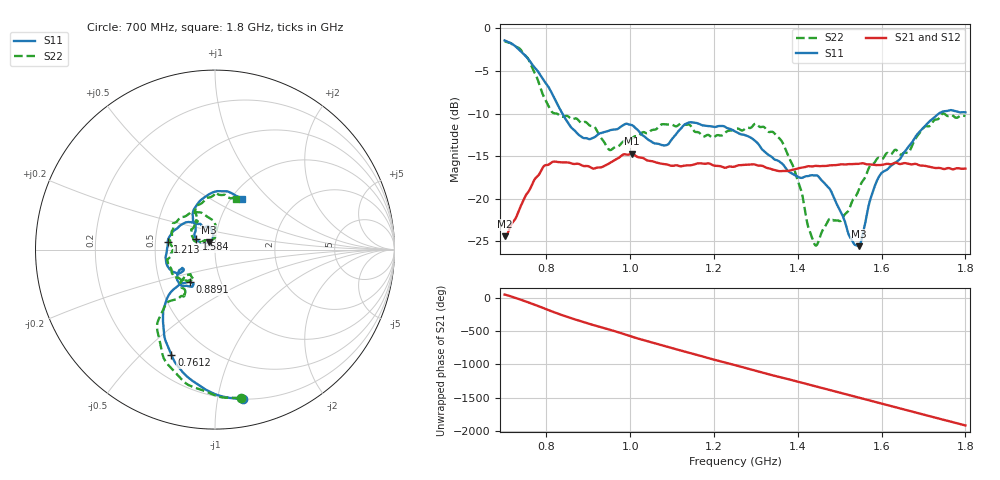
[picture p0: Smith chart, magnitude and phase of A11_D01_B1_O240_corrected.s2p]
! Created with skrf 1.9.0 (http://scikit-rf.org).
# Hz S RI R 50.0
!freq ReS11 ImS11 ReS21 ImS21 ReS12 ImS12 ReS22 ImS22
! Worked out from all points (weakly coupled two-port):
!   1601 points, 700 MHz to 1.8 GHz, reference 50 ohm
!   highest |S21| = -14.72 dB at 1.003 GHz (marker M1); lowest = -24.4 dB at 700 MHz (marker M2)
!   lowest |S11| = -25.6 dB at 1.545 GHz (marker M3), VSWR 1.11, Z = 46.7 + j3.9 ohm
!   |S11| at or under -10 dB: 837.8 MHz to 1.736 GHz (898.6 MHz wide, 69.8 % of centre)
!   |S22| runs from -25.5 to -1.5 dB; largest |S21 - S12| = 0.0037
!   S11 on the Smith chart (normalised r, x): 700 MHz: 0.20, -1.19; 761.2 MHz: 0.32, -0.62; 889.1 MHz: 0.71, -0.27; 1.213 GHz: 0.58, +0.06; 1.584 GHz: 0.81, +0.09; 1.8 GHz: 1.12, +0.71
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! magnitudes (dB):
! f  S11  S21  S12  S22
! 700 MHz  -1.4  -24.4  -24.2  -1.5
! 761.2 MHz  -3.9  -18.8  -18.7  -4.1
! 812.8 MHz  -7.6  -15.7  -15.7  -9.8
! 883.6 MHz  -12.7  -16.1  -16.0  -11.1
! 889.1 MHz  -12.9  -16.2  -16.1  -11.0
! 950.9 MHz  -12.0  -15.8  -15.8  -14.3
! 1.003 GHz  -11.3  -14.7  -14.8  -13.0
! 1.067 GHz  -13.6  -15.8  -15.7  -11.6
! 1.139 GHz  -11.1  -16.1  -16.0  -11.3
! 1.213 GHz  -11.5  -16.2  -16.1  -12.6
! 1.25 GHz  -12.1  -16.2  -16.1  -11.8
! 1.36 GHz  -15.8  -16.8  -16.8  -13.1
! 1.405 GHz  -17.5  -16.4  -16.4  -18.5
! 1.434 GHz  -17.2  -16.2  -16.2  -24.5
! 1.476 GHz  -18.8  -16.1  -16.1  -22.4
! 1.504 GHz  -21.7  -16.0  -16.0  -22.5
! 1.545 GHz  -25.6  -15.9  -15.9  -19.0
! 1.584 GHz  -18.4  -16.0  -16.0  -15.7
! 1.617 GHz  -16.4  -15.9  -15.9  -14.7
! 1.663 GHz  -13.9  -15.9  -15.9  -14.6
! 1.736 GHz  -10.0  -16.4  -16.4  -10.6
! 1.8 GHz  -9.9  -16.4  -16.4  -10.3
